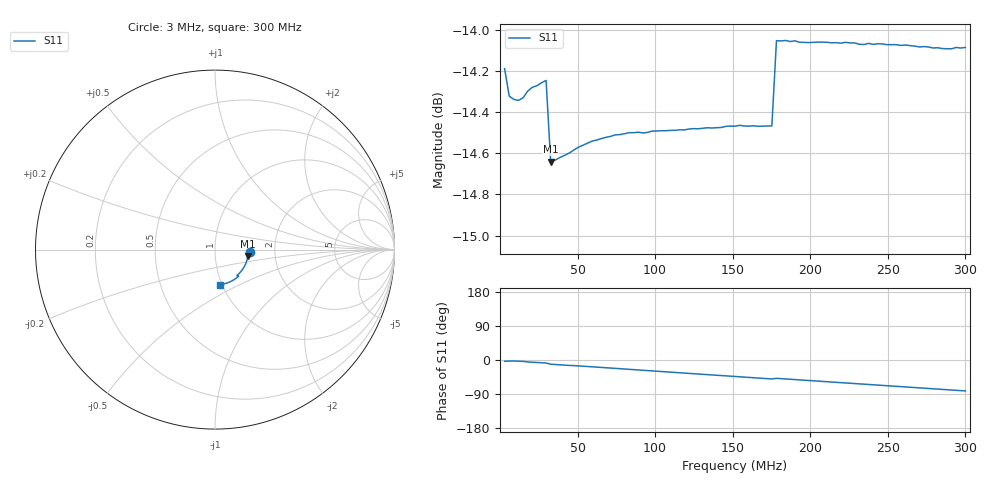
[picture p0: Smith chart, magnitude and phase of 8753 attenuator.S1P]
! C:\data\NanoVNA\8753 attenuator.S1P
! Touchstone 1.1 file saved by VNA.EXE V1.60 (www.ke5fx.com/gpib/readme.htm)
! 22/08/2019 8:33:32 a.m.
!  Source: HEWLETT PACKARD,8753C,0,4.12
!  Min freq: 3.000000E+006 Hz
!  Max freq: 3.000000E+008 Hz
!  Points: 101
!  Params: S11
# GHZ S MA R 50
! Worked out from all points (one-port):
!   101 points, 3 MHz to 300 MHz, reference 50 ohm
!   lowest |S11| = -14.6 dB at 32.7 MHz (marker M1), VSWR 1.46, Z = 72 - j5.33 ohm
!   |S11| at or under -10 dB: start of sweep to end of sweep
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0.003  0.1952 -3.4
0.00597  0.1923 -2.7
0.00894  0.1919 -2.7
0.01191  0.1918 -3.2
0.01488  0.1921 -3.5
0.01785  0.1928 -5.2
0.02082  0.1932 -5.9
0.02973  0.194 -8.0
0.0327  0.1853 -11.1
0.04161  0.186 -13.5
0.04458  0.1862 -14.3
0.04755  0.1865 -14.8
0.05943  0.1875 -18.0
0.07725  0.1882 -22.9
0.09804  0.1885 -28.7
0.11586  0.1887 -33.7
0.13368  0.1889 -38.6
0.1515  0.189 -43.5
0.17526  0.1891 -50.0
0.17823  0.1983 -48.4
0.19011  0.1983 -51.7
0.19308  0.1981 -52.5
0.20793  0.1982 -56.5
0.22575  0.1981 -61.4
0.24357  0.198 -66.3
0.26436  0.1978 -71.9
0.28218  0.1975 -76.8
0.3  0.1976 -81.6
